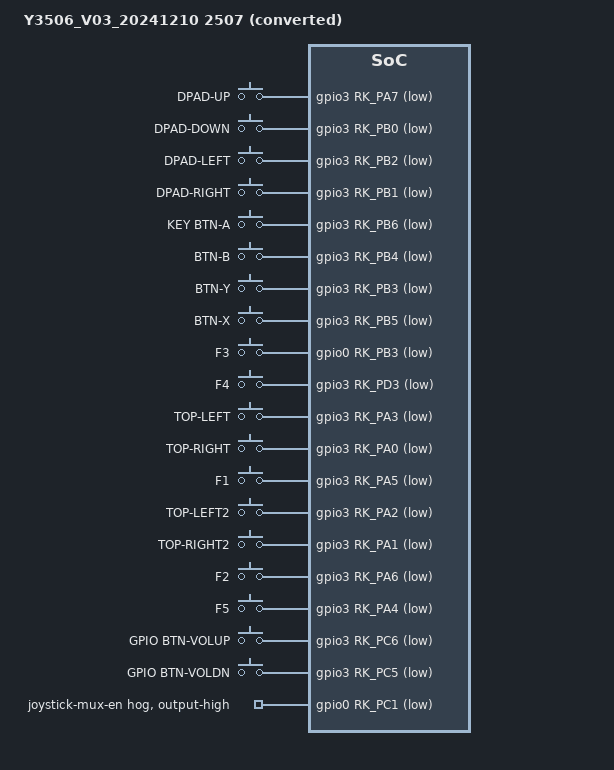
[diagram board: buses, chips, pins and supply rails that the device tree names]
// SPDX-License-Identifier: (GPL-2.0+ OR MIT)
/*
 * Y3506_V03_20241210 2507, converted from a vendor RK3326 device tree by
 * `r36os dtb import` (boot-dtb-select D12). Do not edit: import again.
 * Source: darkosre/files/BOOT/dtb/soysauce/Y3506_v03_20241210 2507/rk3326-r36s-linux.dtb
 * SHA-256: f305c36abdf2c13acb5d597beea2c85db8108f4e8208b205e36b8cfd0597290a
 * Note: speaker gain: source spk-volume 1 ignored, the native safe value is used
 */

#include "rk3326-r36s-v5.dts"

/ {
	model = "Y3506_V03_20241210 2507 (converted)";

	lume-select {
		lume,id = "darkosre-soysauce-y3506-v03-20241210-2507";
		lume,priority = <0>;
		/delete-property/ lume,default;
	};

	/delete-node/ gpio-keys;
	/delete-node/ volume-keys;

	gpio-keys {
		compatible = "gpio-keys";
		pinctrl-names = "default";
		pinctrl-0 = <&btn_pins>;

		button-dpad-up {
			gpios = <&gpio3 RK_PA7 GPIO_ACTIVE_LOW>;
			label = "DPAD-UP";
			linux,code = <0x220>;
		};

		button-dpad-down {
			gpios = <&gpio3 RK_PB0 GPIO_ACTIVE_LOW>;
			label = "DPAD-DOWN";
			linux,code = <0x221>;
		};

		button-dpad-left {
			gpios = <&gpio3 RK_PB2 GPIO_ACTIVE_LOW>;
			label = "DPAD-LEFT";
			linux,code = <0x222>;
		};

		button-dpad-right {
			gpios = <&gpio3 RK_PB1 GPIO_ACTIVE_LOW>;
			label = "DPAD-RIGHT";
			linux,code = <0x223>;
		};

		button-key-btn-a {
			gpios = <&gpio3 RK_PB6 GPIO_ACTIVE_LOW>;
			label = "KEY BTN-A";
			linux,code = <0x131>;
		};

		button-btn-b {
			gpios = <&gpio3 RK_PB4 GPIO_ACTIVE_LOW>;
			label = "BTN-B";
			linux,code = <0x130>;
		};

		button-btn-y {
			gpios = <&gpio3 RK_PB3 GPIO_ACTIVE_LOW>;
			label = "BTN-Y";
			linux,code = <0x134>;
		};

		button-btn-x {
			gpios = <&gpio3 RK_PB5 GPIO_ACTIVE_LOW>;
			label = "BTN-X";
			linux,code = <0x133>;
		};

		button-f3 {
			gpios = <&gpio0 RK_PB3 GPIO_ACTIVE_LOW>;
			label = "F3";
			linux,code = <0x2c2>;
		};

		button-f4 {
			gpios = <&gpio3 RK_PD3 GPIO_ACTIVE_LOW>;
			label = "F4";
			linux,code = <0x2c3>;
		};

		button-top-left {
			gpios = <&gpio3 RK_PA3 GPIO_ACTIVE_LOW>;
			label = "TOP-LEFT";
			linux,code = <0x136>;
		};

		button-top-right {
			gpios = <&gpio3 RK_PA0 GPIO_ACTIVE_LOW>;
			label = "TOP-RIGHT";
			linux,code = <0x137>;
		};

		button-f1 {
			gpios = <&gpio3 RK_PA5 GPIO_ACTIVE_LOW>;
			label = "F1";
			linux,code = <0x2c0>;
		};

		button-top-left2 {
			gpios = <&gpio3 RK_PA2 GPIO_ACTIVE_LOW>;
			label = "TOP-LEFT2";
			linux,code = <0x138>;
		};

		button-top-right2 {
			gpios = <&gpio3 RK_PA1 GPIO_ACTIVE_LOW>;
			label = "TOP-RIGHT2";
			linux,code = <0x139>;
		};

		button-f2 {
			gpios = <&gpio3 RK_PA6 GPIO_ACTIVE_LOW>;
			label = "F2";
			linux,code = <0x2c1>;
		};

		button-f5 {
			gpios = <&gpio3 RK_PA4 GPIO_ACTIVE_LOW>;
			label = "F5";
			linux,code = <0x2c4>;
		};
	};

	volume-keys {
		compatible = "gpio-keys";
		pinctrl-names = "default";
		pinctrl-0 = <&vol_pins>;
		autorepeat;

		button-gpio-btn-volup {
			gpios = <&gpio3 RK_PC6 GPIO_ACTIVE_LOW>;
			label = "GPIO BTN-VOLUP";
			linux,code = <0x73>;
		};

		button-gpio-btn-voldn {
			gpios = <&gpio3 RK_PC5 GPIO_ACTIVE_LOW>;
			label = "GPIO BTN-VOLDN";
			linux,code = <0x72>;
		};
	};

	mux-controller {
		mux-gpios = <&gpio0 RK_PB5 GPIO_ACTIVE_LOW>,
			    <&gpio0 RK_PB4 GPIO_ACTIVE_LOW>;
	};

	adc-mux {
		io-channels = <&saradc 1>;
	};

	/delete-node/ gpio-leds;

	rk817-sound {
		simple-audio-card,hp-det-gpios = <&gpio2 RK_PC6 GPIO_ACTIVE_HIGH>;
	};
};

&internal_display {
	compatible = "rocknix,generic-dsi";
	/delete-property/ vcc-supply;
	vdd-supply = <&vcc_lcd>;
	reset-gpios = <&gpio3 RK_PC0 GPIO_ACTIVE_LOW>;
	enable-gpios = <&gpio1 RK_PC2 GPIO_ACTIVE_LOW>;
	panel_description =
		"G size=153,85 delays=100,100,20,200,20 format=rgb888 lanes=4 flags=0xe03",
		"M clock=27000 horizontal=640,120,10,120 vertical=480,17,4,13 default=1",
		"M clock=25500 horizontal=640,188,2,190 vertical=480,13,2,5",
		"M clock=30600 horizontal=640,87,2,87 vertical=480,13,2,5",
		"I seq=b9f11287",
		"I seq=b2780470",
		"I seq=b31010fcfc03ff00000000",
		"I seq=b480",
		"I seq=b50f0f",
		"I seq=b67070",
		"I seq=b82622f013",
		"I seq=ba338105f90e0e2000000000000000442500910a0000014f01000037",
		"I seq=bc47",
		"I seq=bf0211008004",
		"I seq=c0737350500000127300",
		"I seq=c17300323277f47777ccccffff1111000032",
		"I seq=c7b8000a1001090000edc500a5",
		"I seq=c810401e03",
		"I seq=cc0b",
		"I seq=e0000509293c3f3b37050a0c10131013121a000509293c3f3b37050a0c10131013121a",
		"I seq=e111119100000000",
		"I seq=e307070b0b0b0b00000000ff04c010",
		"I seq=e9c810020000b0b11131232880b0b127080004020000000004020000008888ba60240888888888888888ba713518888888888800000001000000000000000000",
		"I seq=ea970a820203070000000000008188ba17538888888888888088ba064288888888888823000002a500000000000000000000000000000000000000000000",
		"I seq=efffff01",
		"I seq=11 wait=fa",
		"I seq=29 wait=32";
};

&dsi {
	rockchip,lane-rate = <180>;
};

&backlight {
	pwms = <&pwm1 0 40000 0>;
	/delete-property/ num-interpolated-steps;
	brightness-levels = <0 1 2 3 4 5 6 7 8 9 10 11 12 13 14 15 16 17 18 19 20 21 22 23 24 25 26 27 28 29 30 31 32 33 34 35 36 37 38 39 40 41 42 43 44 45 46 47 48 49 50 51 52 53 54 55 56 57 58 59 60 61 62 63 64 65 66 67 68 69 70 71 72 73 74 75 76 77 78 79 80 81 82 83 84 85 86 87 88 89 90 91 92 93 94 95 96 97 98 99 100 101 102 103 104 105 106 107 108 109 110 111 112 113 114 115 116 117 118 119 120 121 122 123 124 125 126 127 128 129 130 131 132 133 134 135 136 137 138 139 140 141 142 143 144 145 146 147 148 149 150 151 152 153 154 155 156 157 158 159 160>;
	default-brightness-level = <80>;
};

&battery {
	charge-full-design-microamp-hours = <3156000>;
	voltage-max-design-microvolt = <4177000>;
	voltage-min-design-microvolt = <3400000>;
	ocv-capacity-table-0 = <4177000 100>,
				<4087000 95>,
				<4005000 90>,
				<3942000 85>,
				<3887000 80>,
				<3838000 75>,
				<3794000 70>,
				<3754000 65>,
				<3719000 60>,
				<3689000 55>,
				<3655000 50>,
				<3628000 45>,
				<3612000 40>,
				<3599000 35>,
				<3586000 30>,
				<3571000 25>,
				<3550000 20>,
				<3521000 15>,
				<3486000 10>,
				<3438000 5>,
				<3400000 0>;
};

&spk_amp {
	enable-gpios = <&gpio3 RK_PC4 GPIO_ACTIVE_HIGH>;
};

&rk817 {
	interrupt-parent = <&gpio0>;
	interrupts = <RK_PA7 IRQ_TYPE_LEVEL_LOW>;
};

&gpio0 {
	/delete-node/ joystick-mux-en-hog;
	joystick-mux-en-hog {
		gpio-hog;
		gpios = <RK_PC1 GPIO_ACTIVE_LOW>;
		output-high;
		line-name = "joystick-mux-en";
	};
};

&gpio1 {
	/delete-node/ lcd-enable-hog;
};

&gpio3 {
	/delete-node/ lcd-stbyb-hog;
};

&btn_pins {
	rockchip,pins =
		<3 RK_PA7 RK_FUNC_GPIO &pcfg_pull_up>,
		<3 RK_PB0 RK_FUNC_GPIO &pcfg_pull_up>,
		<3 RK_PB2 RK_FUNC_GPIO &pcfg_pull_up>,
		<3 RK_PB1 RK_FUNC_GPIO &pcfg_pull_up>,
		<3 RK_PB6 RK_FUNC_GPIO &pcfg_pull_up>,
		<3 RK_PB4 RK_FUNC_GPIO &pcfg_pull_up>,
		<3 RK_PB3 RK_FUNC_GPIO &pcfg_pull_up>,
		<3 RK_PB5 RK_FUNC_GPIO &pcfg_pull_up>,
		<0 RK_PB3 RK_FUNC_GPIO &pcfg_pull_up>,
		<3 RK_PD3 RK_FUNC_GPIO &pcfg_pull_up>,
		<3 RK_PA3 RK_FUNC_GPIO &pcfg_pull_up>,
		<3 RK_PA0 RK_FUNC_GPIO &pcfg_pull_up>,
		<3 RK_PA5 RK_FUNC_GPIO &pcfg_pull_up>,
		<3 RK_PA2 RK_FUNC_GPIO &pcfg_pull_up>,
		<3 RK_PA1 RK_FUNC_GPIO &pcfg_pull_up>,
		<3 RK_PA6 RK_FUNC_GPIO &pcfg_pull_up>,
		<3 RK_PA4 RK_FUNC_GPIO &pcfg_pull_up>;
};

&vol_pins {
	rockchip,pins =
		<3 RK_PC6 RK_FUNC_GPIO &pcfg_pull_up>,
		<3 RK_PC5 RK_FUNC_GPIO &pcfg_pull_up>;
};

&hp_det {
	rockchip,pins = <2 RK_PC6 RK_FUNC_GPIO &pcfg_pull_none>;
};

&spk_amp_enable_h {
	rockchip,pins = <3 RK_PC4 RK_FUNC_GPIO &pcfg_pull_none>;
};

&pmic_int {
	rockchip,pins = <0 RK_PA7 RK_FUNC_GPIO &pcfg_pull_up>;
};
